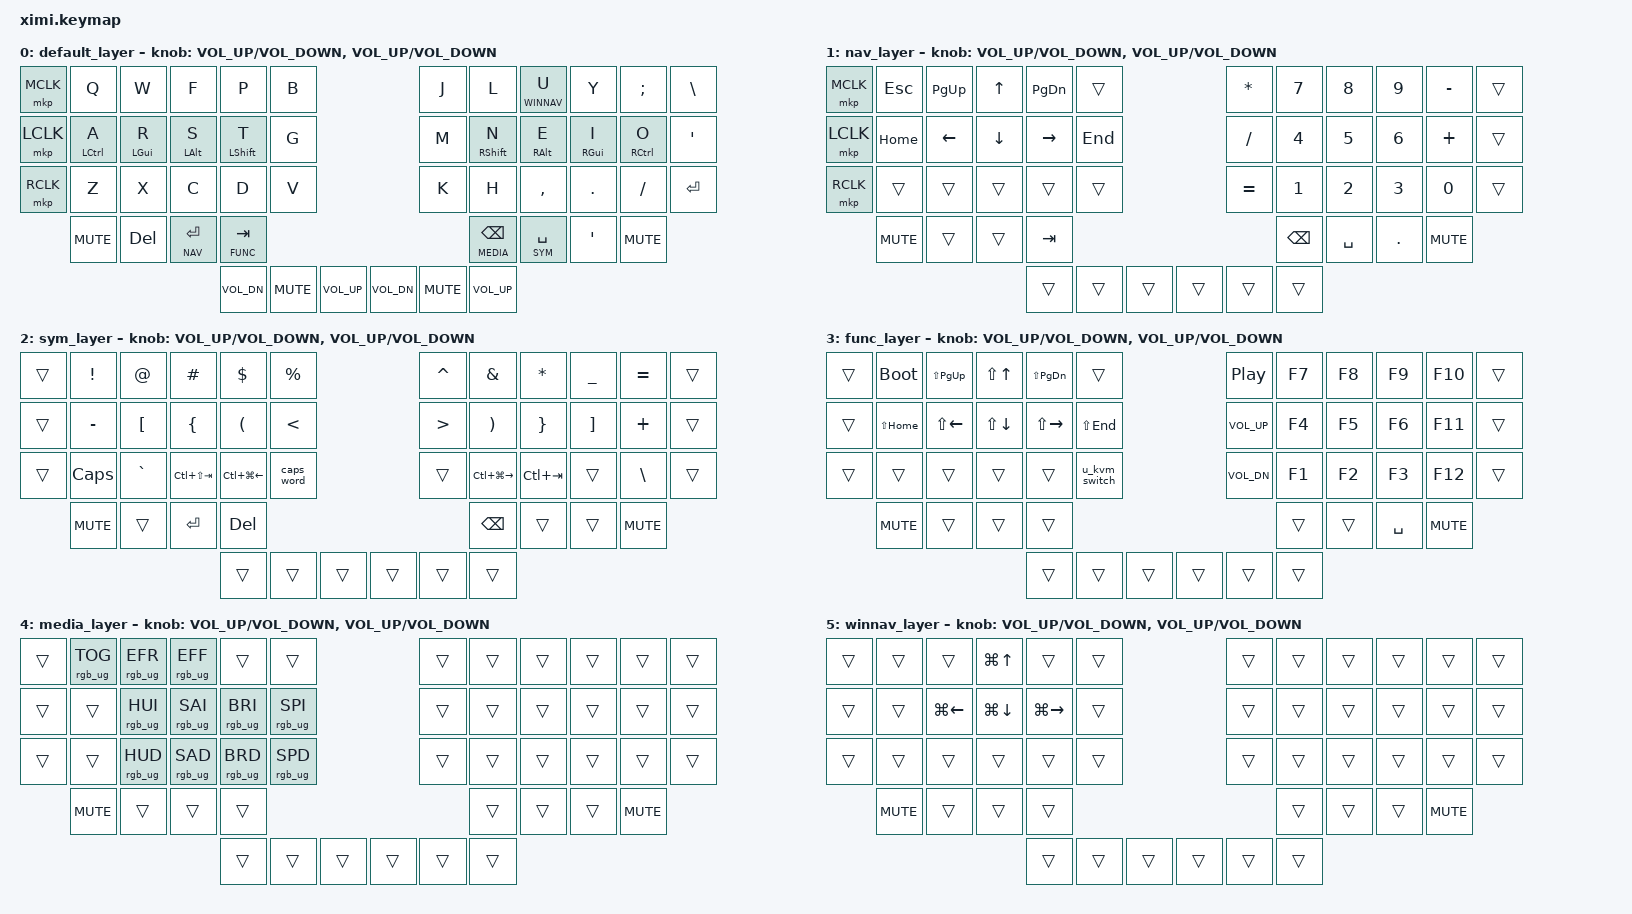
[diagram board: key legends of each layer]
/*
 * SPDX-License-Identifier: MIT
 */

#include <behaviors.dtsi>
#include <dt-bindings/zmk/keys.h>

/*
 * SPDX-License-Identifier: MIT
 */

 #include <behaviors.dtsi>
 #include <dt-bindings/zmk/keys.h>
 #include <dt-bindings/zmk/rgb.h>
 #include <dt-bindings/zmk/outputs.h>
 #include <dt-bindings/zmk/mouse.h>
 #include <behaviors/mouse_keys.dtsi>
 
 #define DEFAULT 0
 #define NAV     1
 #define SYM     2
 #define FUNC    3
 #define MEDIA   4
 #define WINNAV  5
 
 &caps_word {
     continue-list = <UNDERSCORE MINUS>;
 };
 
 / {
    combos {
        compatible = "zmk,combos";
        combo_undo {
            timeout-ms = <50>;
            key-positions = <25 26>;
            bindings = <&kp LC(Z)>;
        };
    };
};
 
 / {
     sensors {
         compatible = "zmk,keymap-sensors";
         sensors = <&encoder_1 &encoder_2>;
         triggers-per-rotation = <20>;
     };
 };
 
 / {
     macros {
         u_kvm_switch: u_kvm_switch {
             compatible = "zmk,behavior-macro";
             #binding-cells = <0>;
             bindings
                 = <&macro_press &kp TAB>
                 , <&macro_wait_time 200>
                 , <&macro_tap &kp RIGHT>
                 , <&macro_wait_time 200>
                 , <&macro_release &kp TAB>
                 ;
         };
     };
 };
 
 / {
     behaviors {
         hm: homerow_mods {
             compatible = "zmk,behavior-hold-tap";
             #binding-cells = <2>;
             tapping-term-ms = <200>;
             flavor = "tap-preferred";
             bindings = <&kp>, <&kp>;
         };
         hs: homerow_shift {
             compatible = "zmk,behavior-hold-tap";
             #binding-cells = <2>;
             tapping-term-ms = <175>;
             flavor = "balanced";
             bindings = <&kp>, <&kp>;
         };
     };
 
     keymap {
         compatible = "zmk,keymap";
 
         default_layer {
             sensor-bindings = <&inc_dec_kp C_VOLUME_UP C_VOLUME_DOWN &inc_dec_kp C_VOLUME_UP C_VOLUME_DOWN>;
 
             bindings = <
     &mkp MCLK  &kp Q       &kp W       &kp F       &kp P         &kp B                                           &kp J          &kp L         &lt WINNAV U  &kp Y       &kp SEMI    &kp BSLH
     &mkp LCLK  &hm LCTL A  &hm LGUI R  &hm LALT S  &hs LSHIFT T  &kp G                                           &kp M          &hs RSHIFT N  &hm RALT E    &hm RGUI I  &hm RCTL O  &kp SQT
     &mkp RCLK  &kp Z       &kp X       &kp C       &kp D         &kp V                                           &kp K          &kp H         &kp COMMA     &kp DOT     &kp FSLH    &kp RET
                &kp C_MUTE                          &kp DEL       &lt NAV RET  &lt FUNC TAB       &lt MEDIA BSPC  &lt SYM SPACE  &kp SQT                                 &kp C_MUTE
                                                    &kp C_VOL_DN  &kp C_MUTE   &kp C_VOL_UP       &kp C_VOL_DN    &kp C_MUTE     &kp C_VOL_UP
             >;
         };
 
         nav_layer {
             sensor-bindings = <&inc_dec_kp C_VOLUME_UP C_VOLUME_DOWN &inc_dec_kp C_VOLUME_UP C_VOLUME_DOWN>;
 
             bindings = <
     &mkp MCLK  &kp ESC      &kp PG_UP    &kp UP      &kp PG_DN     &trans                                  &kp ASTRK     &kp N7       &kp N8        &kp N9      &kp MINUS   &trans
     &mkp LCLK  &kp HOME     &kp LEFT     &kp DOWN    &kp RIGHT     &kp END                                 &kp FSLH      &kp N4       &kp N5        &kp N6      &kp PLUS    &trans
     &mkp RCLK  &trans       &trans       &trans      &trans        &trans                                  &kp EQUAL     &kp N1       &kp N2        &kp N3      &kp N0      &trans
                &kp C_MUTE                            &trans        &trans      &kp TAB          &kp BSPC   &kp SPACE     &kp DOT                                &kp C_MUTE
                                                      &trans        &trans      &trans           &trans     &trans        &trans
             >;
         };
 
         sym_layer {
             sensor-bindings = <&inc_dec_kp C_VOLUME_UP C_VOLUME_DOWN &inc_dec_kp C_VOLUME_UP C_VOLUME_DOWN>;
 
             bindings = <
     &trans     &kp EXCL     &kp AT       &kp HASH        &kp DLLR         &kp PRCNT                                    &kp CARET     &kp AMPS          &kp ASTRK     &kp UNDER   &kp EQUAL   &trans
     &trans     &kp MINUS    &kp LBKT     &kp LBRC        &kp LPAR         &kp LT                                       &kp GT        &kp RPAR          &kp RBRC      &kp RBKT    &kp PLUS    &trans
     &trans     &kp CAPS     &kp GRAVE    &kp LC(LS(TAB)) &kp LC(LG(LEFT)) &caps_word                                   &trans        &kp LC(LG(RIGHT)) &kp LC(TAB)   &trans      &kp BSLH    &trans
                &kp C_MUTE                                &trans           &kp RET       &kp DEL         &kp BSPC       &trans        &trans                                      &kp C_MUTE
                                                          &trans           &trans        &trans          &trans         &trans        &trans
             >;
         };
 
         func_layer {
             sensor-bindings = <&inc_dec_kp C_VOLUME_UP C_VOLUME_DOWN &inc_dec_kp C_VOLUME_UP C_VOLUME_DOWN>;
 
             bindings = <
     &trans     &bootloader  &kp LS(PG_UP) &kp LS(UP)   &kp LS(PG_DN) &trans                                   &kp C_PLAY_PAUSE &kp F7       &kp F8        &kp F9      &kp F10     &trans
     &trans     &kp LS(HOME) &kp LS(LEFT)  &kp LS(DOWN) &kp LS(RIGHT) &kp LS(END)                              &kp K_VOL_UP     &kp F4       &kp F5        &kp F6      &kp F11     &trans
     &trans     &trans       &trans        &trans       &trans        &u_kvm_switch                            &kp K_VOL_DN     &kp F1       &kp F2        &kp F3      &kp F12     &trans
                &kp C_MUTE                              &trans        &trans        &trans          &trans     &trans           &kp SPACE                              &kp C_MUTE
                                                        &trans        &trans        &trans          &trans     &trans           &trans
             >;
         };
 
         media_layer {
             sensor-bindings = <&inc_dec_kp C_VOLUME_UP C_VOLUME_DOWN &inc_dec_kp C_VOLUME_UP C_VOLUME_DOWN>;
 
             bindings = <
     &trans     &rgb_ug RGB_TOG  &rgb_ug RGB_EFR  &rgb_ug RGB_EFF &trans            &trans                                       &trans     &trans     &trans     &trans     &trans      &trans
     &trans     &trans           &rgb_ug RGB_HUI  &rgb_ug RGB_SAI &rgb_ug RGB_BRI   &rgb_ug RGB_SPI                              &trans     &trans     &trans     &trans     &trans      &trans
     &trans     &trans           &rgb_ug RGB_HUD  &rgb_ug RGB_SAD &rgb_ug RGB_BRD   &rgb_ug RGB_SPD                              &trans     &trans     &trans     &trans     &trans      &trans
                &kp C_MUTE                                        &trans            &trans             &trans         &trans     &trans     &trans                           &kp C_MUTE
                                                                  &trans            &trans             &trans         &trans     &trans     &trans
             >;
         };
 
         winnav_layer {
             sensor-bindings = <&inc_dec_kp C_VOLUME_UP C_VOLUME_DOWN &inc_dec_kp C_VOLUME_UP C_VOLUME_DOWN>;
 
             bindings = <
     &trans     &trans       &trans       &kp LG(UP)   &trans        &trans                                   &trans      &trans      &trans      &trans      &trans      &trans
     &trans     &trans       &kp LG(LEFT) &kp LG(DOWN) &kp LG(RIGHT) &trans                                   &trans      &trans      &trans      &trans      &trans      &trans
     &trans     &trans       &trans       &trans       &trans        &trans                                   &trans      &trans      &trans      &trans      &trans      &trans
                &kp C_MUTE                             &trans        &trans        &trans          &trans     &trans      &trans                              &kp C_MUTE
                                                       &trans        &trans        &trans          &trans     &trans      &trans
             >;
         };
     };
 };
 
